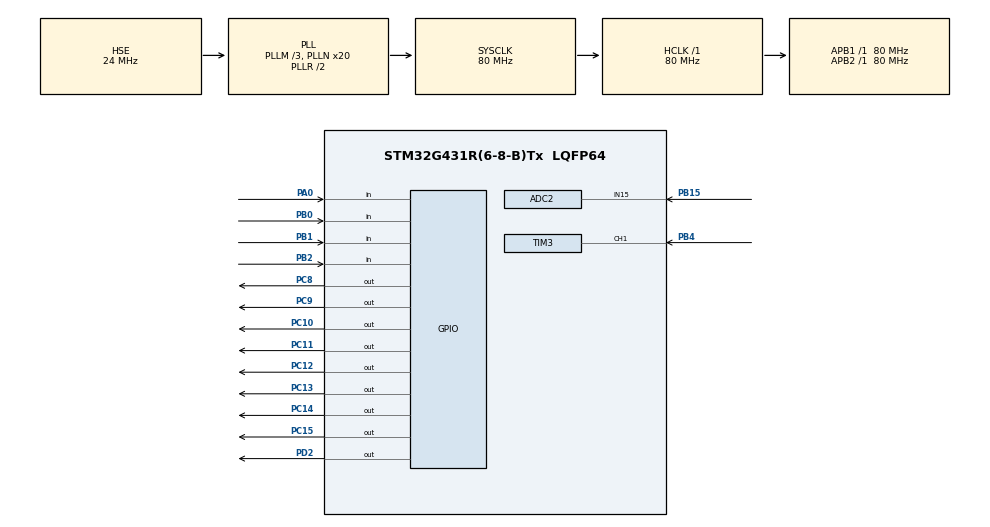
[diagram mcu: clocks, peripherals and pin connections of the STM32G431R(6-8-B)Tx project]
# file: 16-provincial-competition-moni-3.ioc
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ADC2.Channel-0\#ChannelRegularConversion=ADC_CHANNEL_15
ADC2.NbrOfConversionFlag=1
ADC2.OffsetNumber-0\#ChannelRegularConversion=ADC_OFFSET_NONE
ADC2.Rank-0\#ChannelRegularConversion=1
ADC2.SamplingTime-0\#ChannelRegularConversion=ADC_SAMPLETIME_2CYCLES_5
Mcu.Family=STM32G4
Mcu.Name=STM32G431R(6-8-B)Tx
Mcu.Package=LQFP64
NVIC.PriorityGroup=NVIC_PRIORITYGROUP_4
NVIC.TIM3_IRQn=true\:0\:0\:false\:false\:true\:true\:true\:true
NVIC.TIM4_IRQn=true\:0\:0\:false\:false\:true\:true\:true\:true
PA0.GPIO_PuPd=GPIO_PULLUP
PA0.Signal=GPIO_Input
PA13.Mode=Serial_Wire
PA13.Signal=SYS_JTMS-SWDIO
PA14.Mode=Serial_Wire
PA14.Signal=SYS_JTCK-SWCLK
PB0.GPIO_PuPd=GPIO_PULLUP
PB0.Signal=GPIO_Input
PB1.GPIO_PuPd=GPIO_PULLUP
PB1.Signal=GPIO_Input
PB15.Mode=IN15-Single-Ended
PB15.Signal=ADC2_IN15
PB2.GPIO_PuPd=GPIO_PULLUP
PB2.Signal=GPIO_Input
PB4.Signal=S_TIM3_CH1
PC10.PinState=GPIO_PIN_SET
PC10.Signal=GPIO_Output
PC11.PinState=GPIO_PIN_SET
PC11.Signal=GPIO_Output
PC12.PinState=GPIO_PIN_SET
PC12.Signal=GPIO_Output
PC13.PinState=GPIO_PIN_SET
PC13.Signal=GPIO_Output
PC14-OSC32_IN.PinState=GPIO_PIN_SET
PC14-OSC32_IN.Signal=GPIO_Output
PC15-OSC32_OUT.PinState=GPIO_PIN_SET
PC15-OSC32_OUT.Signal=GPIO_Output
PC8.PinState=GPIO_PIN_SET
PC8.Signal=GPIO_Output
PC9.PinState=GPIO_PIN_SET
PC9.Signal=GPIO_Output
PD2.Signal=GPIO_Output
PF0-OSC_IN.Mode=HSE-External-Oscillator
PF0-OSC_IN.Signal=RCC_OSC_IN
PF1-OSC_OUT.Mode=HSE-External-Oscillator
PF1-OSC_OUT.Signal=RCC_OSC_OUT
ProjectManager.HeapSize=0x200
ProjectManager.StackSize=0x400
ProjectManager.TargetToolchain=MDK-ARM V5.32
RCC.ADC12Freq_Value=80000000
RCC.AHBFreq_Value=80000000
RCC.APB1Freq_Value=80000000
RCC.APB1TimFreq_Value=80000000
RCC.APB2Freq_Value=80000000
RCC.APB2TimFreq_Value=80000000
RCC.CortexFreq_Value=80000000
RCC.EXTERNAL_CLOCK_VALUE=12288000
RCC.HCLKFreq_Value=80000000
RCC.HSE_VALUE=24000000
RCC.HSI48_VALUE=48000000
RCC.HSI_VALUE=16000000
RCC.LSE_VALUE=32768
RCC.PLLM=RCC_PLLM_DIV3
RCC.PLLN=20
RCC.PLLSourceVirtual=RCC_PLLSOURCE_HSE
RCC.SYSCLKFreq_VALUE=80000000
RCC.SYSCLKSource=RCC_SYSCLKSOURCE_PLLCLK
RCC.USBFreq_Value=80000000
RCC.VCOOutputFreq_Value=160000000
SH.S_TIM3_CH1.0=TIM3_CH1,Input_Capture1_from_TI1
TIM3.Channel-Input_Capture1_from_TI1=TIM_CHANNEL_1
TIM3.Prescaler=80-1
TIM4.PeriodNoDither=10000-1
TIM4.Prescaler=8000-1
VP_SYS_VS_DBSignals.Mode=DisableDeadBatterySignals
VP_TIM4_VS_ClockSourceINT.Mode=Internal
board=custom

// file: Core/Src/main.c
/* USER CODE BEGIN Header */
/**
  ******************************************************************************
  * @file           : main.c
  * @brief          : Main program body
  ******************************************************************************
  * @attention
  *
  * Copyright (c) 2025 STMicroelectronics.
  * All rights reserved.
  *
  * This software is licensed under terms that can be found in the LICENSE file
  * in the root directory of this software component.
  * If no LICENSE file comes with this software, it is provided AS-IS.
  *
  ******************************************************************************
  */
/* USER CODE END Header */
#include "main.h"
#include "adc.h"
#include "tim.h"
#include "gpio.h"

/* USER CODE BEGIN Includes */
#include "stdio.h"
#include "stdint.h"
#include "string.h"
#include "lcd.h"
/* USER CODE END Includes */

/* USER CODE BEGIN PV */
char text[20];
uint8_t page, rate, high=100, low=60, line, max_rate=0, min_rate=222, con;
uint8_t key_val, key_down, key_up, key_last_val;
uint32_t r39;
double r37;uint8_t md_flag=0, temp_high, temp_low, quit, led_flag, sec_6, last_item=2;  // 表示上一个con++的情况
/* USER CODE END PV */

void SystemClock_Config(void);
/* USER CODE BEGIN PFP */
void LCD_Proc(void);
void KEY_Proc(void);
void RATE_Proc(void);
void Rate(uint32_t f);
void Get_Vol(void);
void LED_Proc(void);
/* USER CODE END PFP */

int main(void)
{

  /* MCU Configuration--------------------------------------------------------*/

  /* Reset of all peripherals, Initializes the Flash interface and the Systick. */
  HAL_Init();

  /* Configure the system clock */
  SystemClock_Config();

  /* Initialize all configured peripherals */
  MX_GPIO_Init();
  MX_TIM3_Init();
  MX_ADC2_Init();
  MX_TIM4_Init();
  /* USER CODE BEGIN 2 */
    // LCD
    LCD_Init();
    LCD_Clear(Black);
    LCD_SetBackColor(Black);
    LCD_SetTextColor(White);
    // TIM
    HAL_TIM_IC_Start_IT(&htim3, TIM_CHANNEL_1);
    // ADC
    HAL_ADCEx_Calibration_Start(&hadc2, ADC_SINGLE_ENDED);
  /* USER CODE END 2 */

  /* Infinite loop */
  /* USER CODE BEGIN WHILE */
  while (1)
  {
      Rate(r39);
      Get_Vol();
      KEY_Proc();
      if(r39>0) RATE_Proc();
      LCD_Proc();
      LED_Proc();
    /* USER CODE END WHILE */

  }
}

void SystemClock_Config(void)
{
  RCC_OscInitTypeDef RCC_OscInitStruct = {0};
  RCC_ClkInitTypeDef RCC_ClkInitStruct = {0};

  /** Configure the main internal regulator output voltage
  */
  HAL_PWREx_ControlVoltageScaling(PWR_REGULATOR_VOLTAGE_SCALE1);

  /** Initializes the RCC Oscillators according to the specified parameters
  * in the RCC_OscInitTypeDef structure.
  */
  RCC_OscInitStruct.OscillatorType = RCC_OSCILLATORTYPE_HSE;
  RCC_OscInitStruct.HSEState = RCC_HSE_ON;
  RCC_OscInitStruct.PLL.PLLState = RCC_PLL_ON;
  RCC_OscInitStruct.PLL.PLLSource = RCC_PLLSOURCE_HSE;
  RCC_OscInitStruct.PLL.PLLM = RCC_PLLM_DIV3;
  RCC_OscInitStruct.PLL.PLLN = 20;
  RCC_OscInitStruct.PLL.PLLP = RCC_PLLP_DIV2;
  RCC_OscInitStruct.PLL.PLLQ = RCC_PLLQ_DIV2;
  RCC_OscInitStruct.PLL.PLLR = RCC_PLLR_DIV2;
  if (HAL_RCC_OscConfig(&RCC_OscInitStruct) != HAL_OK)
  {
    Error_Handler();
  }

  /** Initializes the CPU, AHB and APB buses clocks
  */
  RCC_ClkInitStruct.ClockType = RCC_CLOCKTYPE_HCLK|RCC_CLOCKTYPE_SYSCLK
                              |RCC_CLOCKTYPE_PCLK1|RCC_CLOCKTYPE_PCLK2;
  RCC_ClkInitStruct.SYSCLKSource = RCC_SYSCLKSOURCE_PLLCLK;
  RCC_ClkInitStruct.AHBCLKDivider = RCC_SYSCLK_DIV1;
  RCC_ClkInitStruct.APB1CLKDivider = RCC_HCLK_DIV1;
  RCC_ClkInitStruct.APB2CLKDivider = RCC_HCLK_DIV1;

  if (HAL_RCC_ClockConfig(&RCC_ClkInitStruct, FLASH_LATENCY_2) != HAL_OK)
  {
    Error_Handler();
  }
}

/* USER CODE BEGIN 4 */
void Get_Vol(){
    HAL_ADC_Start(&hadc2);
    uint32_t temp=HAL_ADC_GetValue(&hadc2);
    r37=(3.3*temp)/4096;
}
uint8_t thread(double v){
    if(v-1.0<0){
        return 60;
    }else if(v-3.0>0){
        return 150;
    }else{
        return 45*v+15;
    }
}
void Rate(uint32_t f){
    if(f<=1000){
        rate=30;
    }else if(f>=2000){
        rate=200;
    }else{
        rate=(uint8_t)(0.17*f-140);
    }
}
void LCD_Proc(void){
    if(page==0){
        if(md_flag){
            md_flag=0;
            quit=2;
        }
        sprintf(text, "       HEART        ");
        LCD_DisplayStringLine(Line1, (uint8_t*)text);
        sprintf(text, "      Rate:%d      ", rate);
        LCD_DisplayStringLine(Line3, (uint8_t*)text);
        sprintf(text, "       Con:%d      ", con);
        LCD_DisplayStringLine(Line4, (uint8_t*)text);
    }else if(page==1){
        if(md_flag){
            md_flag=0;
            quit=2;  // 不正常退出
        }
        sprintf(text, "       RECORD       ");
        LCD_DisplayStringLine(Line1, (uint8_t*)text);
        sprintf(text, "       Max:%d      ", max_rate);
        LCD_DisplayStringLine(Line3, (uint8_t*)text);
        sprintf(text, "       Min:%d      ", min_rate);
        LCD_DisplayStringLine(Line4, (uint8_t*)text);
        line=0;
    }else{
        sprintf(text, "        PARA        ");
        LCD_DisplayStringLine(Line1, (uint8_t*)text);
        sprintf(text, "      High:%d      ", high);
        LCD_DisplayStringLine(Line3, (uint8_t*)text);
        sprintf(text, "       Low:%d      ", low);
        LCD_DisplayStringLine(Line4, (uint8_t*)text);
    }
}
uint8_t KEY_Scan(void){
    uint8_t key_value=0;
    if(HAL_GPIO_ReadPin(GPIOB, GPIO_PIN_0)==GPIO_PIN_RESET){
        key_value=1;
    }
    if(HAL_GPIO_ReadPin(GPIOB, GPIO_PIN_1)==GPIO_PIN_RESET){
        key_value=2;
    }
    if(HAL_GPIO_ReadPin(GPIOB, GPIO_PIN_2)==GPIO_PIN_RESET){
        key_value=3;
    }
    if(HAL_GPIO_ReadPin(GPIOA, GPIO_PIN_0)==GPIO_PIN_RESET){
        key_value=4;
    }
    return key_value;
}
void KEY_Proc(void){
    key_val=KEY_Scan();
    key_down=key_val&(key_val^key_last_val);
    key_up=~key_val&(key_val^key_last_val);
    key_last_val=key_val;
    if(key_down==1){
        page++;
        page%=3;
    }
    if(key_down==2 && page==2){
        line^=1;
    }
    if(key_down==3 && page==2){
        if(md_flag==1 && key_down==3){
            quit=1;
        }
        md_flag^=1;
        if(md_flag){
            temp_high=high;
            temp_low=low;
        }
    }
    if(key_down==4 && page==0){
        con=0;
    }
}
void RATE_Proc(void){
    if(rate>max_rate){
        max_rate=rate;
    }
    if(rate<min_rate){
        min_rate=rate;
    }
    if(md_flag && page==2){
        if(line==0) high=thread(r37);
        if(line==1) low=thread(r37);
    }else{
        if(last_item==2){  // con没有++
            if(rate>high){
                last_item=1;
                con++;
                led_flag=1;
                sec_6=0;
                TIM4->CNT=0;
                HAL_TIM_Base_Start_IT(&htim4);
            }else if(rate<low){
                last_item=0;
                con++;
                led_flag=1;
                sec_6=0;
                TIM4->CNT=0;
                HAL_TIM_Base_Start_IT(&htim4);
            }
        }else if(last_item==1){  // 表示上一个是high
            if(rate<low){
                last_item=0;
                con++;
                led_flag=1;
                sec_6=0;
                TIM4->CNT=0;
                HAL_TIM_Base_Start_IT(&htim4);
            }
        }else if(last_item==0){  // 表示上一个是low
            if(rate>high){
                last_item=1;
                con++;
                led_flag=1;
                sec_6=0;
                TIM4->CNT=0;
                HAL_TIM_Base_Start_IT(&htim4);
            }
        }
    }
    if(quit==2){
        high=temp_high;
        low=temp_low;
        quit=0;
    }
}
void LED_Show(uint8_t led, uint8_t mode){
    if(mode){
        HAL_GPIO_WritePin(GPIOC, led<<8, GPIO_PIN_RESET);
        HAL_GPIO_WritePin(GPIOD, GPIO_PIN_2, GPIO_PIN_SET);
        HAL_GPIO_WritePin(GPIOD, GPIO_PIN_2, GPIO_PIN_RESET);
    }else{
        HAL_GPIO_WritePin(GPIOC, led<<8, GPIO_PIN_SET);
        HAL_GPIO_WritePin(GPIOD, GPIO_PIN_2, GPIO_PIN_SET);
        HAL_GPIO_WritePin(GPIOD, GPIO_PIN_2, GPIO_PIN_RESET);
    }
}
void LED_Proc(void){
    if(page==0){
        LED_Show(0x01, 1);
        LED_Show(0x02, 0);
        LED_Show(0x04, 0);
    }else if(page==1){
        LED_Show(0x01, 0);
        LED_Show(0x02, 1);
        LED_Show(0x04, 0);
    }else{
        LED_Show(0x01, 0);
        LED_Show(0x02, 0);
        LED_Show(0x04, 1);
    }
    if(md_flag){
        if(line==0){
            LED_Show(0x08, 1);
            LED_Show(0x10, 0);
        }else{
            LED_Show(0x08, 0);
            LED_Show(0x10, 1);
        }
    }else{
        LED_Show(0x08, 0);
        LED_Show(0x10, 0);
    }
    LED_Show(0x20, led_flag);
}
void HAL_TIM_IC_CaptureCallback(TIM_HandleTypeDef *htim){
    if(htim->Instance==TIM3){
        uint32_t temp=HAL_TIM_ReadCapturedValue(htim, TIM_CHANNEL_1);
        TIM3->CNT=0;
        r39=1000000/temp;
    }
}
void HAL_TIM_PeriodElapsedCallback(TIM_HandleTypeDef *htim){
    if(htim->Instance==TIM4){
        sec_6++;
        if(sec_6==6){
            HAL_TIM_Base_Stop_IT(htim);
            htim->Instance->CNT=0;
            led_flag=0;
        }
    }
}
/* USER CODE END 4 */

void Error_Handler(void)
{
  __disable_irq();
  while (1)
  {
  }
}
